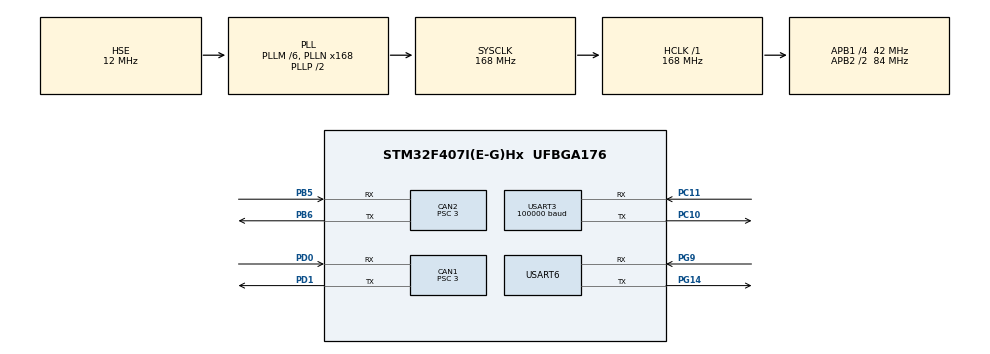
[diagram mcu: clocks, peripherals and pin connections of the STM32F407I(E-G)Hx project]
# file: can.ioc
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CAN1.BS1=CAN_BS1_10TQ
CAN1.BS2=CAN_BS2_3TQ
CAN1.CalculateTimeQuantum=71.42857142857143
CAN1.Prescaler=3
CAN2.BS1=CAN_BS1_10TQ
CAN2.BS2=CAN_BS2_3TQ
CAN2.CalculateTimeQuantum=71.42857142857143
CAN2.Prescaler=3
Dma.Request0=USART6_TX
Dma.Request1=USART3_RX
Dma.USART3_RX.1.Direction=DMA_PERIPH_TO_MEMORY
Dma.USART3_RX.1.FIFOMode=DMA_FIFOMODE_DISABLE
Dma.USART3_RX.1.Instance=DMA1_Stream1
Dma.USART3_RX.1.MemDataAlignment=DMA_MDATAALIGN_BYTE
Dma.USART3_RX.1.MemInc=DMA_MINC_ENABLE
Dma.USART3_RX.1.Mode=DMA_CIRCULAR
Dma.USART3_RX.1.PeriphDataAlignment=DMA_PDATAALIGN_BYTE
Dma.USART3_RX.1.PeriphInc=DMA_PINC_DISABLE
Dma.USART3_RX.1.Priority=DMA_PRIORITY_HIGH
Dma.USART6_TX.0.Direction=DMA_MEMORY_TO_PERIPH
Dma.USART6_TX.0.FIFOMode=DMA_FIFOMODE_DISABLE
Dma.USART6_TX.0.Instance=DMA2_Stream6
Dma.USART6_TX.0.MemDataAlignment=DMA_MDATAALIGN_BYTE
Dma.USART6_TX.0.MemInc=DMA_MINC_ENABLE
Dma.USART6_TX.0.Mode=DMA_NORMAL
Dma.USART6_TX.0.PeriphDataAlignment=DMA_PDATAALIGN_BYTE
Dma.USART6_TX.0.PeriphInc=DMA_PINC_DISABLE
Dma.USART6_TX.0.Priority=DMA_PRIORITY_LOW
Mcu.Family=STM32F4
Mcu.Name=STM32F407I(E-G)Hx
Mcu.Package=UFBGA176
NVIC.CAN1_RX0_IRQn=true\:0\:0\:false\:false\:true\:true\:true\:true
NVIC.CAN2_RX0_IRQn=true\:0\:0\:false\:false\:true\:true\:true\:true
NVIC.DMA1_Stream1_IRQn=true\:0\:0\:false\:false\:true\:false\:true\:true
NVIC.DMA2_Stream6_IRQn=true\:0\:0\:false\:false\:true\:false\:true\:true
NVIC.PriorityGroup=NVIC_PRIORITYGROUP_4
NVIC.USART3_IRQn=true\:0\:0\:false\:false\:true\:true\:true\:true
NVIC.USART6_IRQn=true\:0\:0\:false\:false\:true\:true\:true\:true
PA13.Mode=Serial_Wire
PA13.Signal=SYS_JTMS-SWDIO
PA14.Mode=Serial_Wire
PA14.Signal=SYS_JTCK-SWCLK
PB5.Mode=Slave
PB5.Signal=CAN2_RX
PB6.Mode=Slave
PB6.Signal=CAN2_TX
PC10.Mode=Asynchronous
PC10.Signal=USART3_TX
PC11.Mode=Asynchronous
PC11.Signal=USART3_RX
PD0.Mode=Master
PD0.Signal=CAN1_RX
PD1.Mode=Master
PD1.Signal=CAN1_TX
PG14.Mode=Asynchronous
PG14.Signal=USART6_TX
PG9.Mode=Asynchronous
PG9.Signal=USART6_RX
PH0-OSC_IN.Mode=HSE-External-Oscillator
PH0-OSC_IN.Signal=RCC_OSC_IN
PH1-OSC_OUT.Mode=HSE-External-Oscillator
PH1-OSC_OUT.Signal=RCC_OSC_OUT
ProjectManager.HeapSize=0x200
ProjectManager.StackSize=0x400
ProjectManager.TargetToolchain=MDK-ARM V5
RCC.48MHZClocksFreq_Value=84000000
RCC.AHBFreq_Value=168000000
RCC.APB1CLKDivider=RCC_HCLK_DIV4
RCC.APB1Freq_Value=42000000
RCC.APB1TimFreq_Value=84000000
RCC.APB2CLKDivider=RCC_HCLK_DIV2
RCC.APB2Freq_Value=84000000
RCC.APB2TimFreq_Value=168000000
RCC.CortexFreq_Value=168000000
RCC.HCLKFreq_Value=168000000
RCC.HSE_VALUE=12000000
RCC.HSI_VALUE=16000000
RCC.LSE_VALUE=32768
RCC.PLLM=6
RCC.PLLN=168
RCC.PLLSourceVirtual=RCC_PLLSOURCE_HSE
RCC.SYSCLKFreq_VALUE=168000000
RCC.SYSCLKSource=RCC_SYSCLKSOURCE_PLLCLK
RCC.VCOOutputFreq_Value=336000000
USART3.BaudRate=100000
USART3.Mode=MODE_RX
USART3.Parity=PARITY_EVEN
USART3.VirtualMode=VM_ASYNC
USART6.VirtualMode=VM_ASYNC
board=custom

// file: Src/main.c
/* USER CODE BEGIN Header */
/**
  ******************************************************************************
  * @file           : main.c
  * @brief          : Main program body
  ******************************************************************************
  * @attention
  *
  * <h2><center>&copy; Copyright (c) 2019 STMicroelectronics.
  * All rights reserved.</center></h2>
  *
  * This software component is licensed by ST under BSD 3-Clause license,
  * the "License"; You may not use this file except in compliance with the
  * License. You may obtain a copy of the License at:
  *                        opensource.org/licenses/BSD-3-Clause
  *
  ******************************************************************************
  */
/* USER CODE END Header */

#include "main.h"
#include "can.h"
#include "dma.h"
#include "usart.h"
#include "gpio.h"

/* USER CODE BEGIN Includes */
#include "bsp_can.h"
#include "CAN_receive.h"
#include "bsp_rc.h"
#include "uart_printf.h"
#include "remote_control.h"
#include "pid.h"
/* USER CODE END Includes */

/* USER CODE BEGIN PTD */
const RC_ctrl_t *local_rc_ctrl ;//遥控器数据存储空间

pid_type_def speed_pid;

int16_t give_current = 0 ;
float give_speed = 0 ;

/* USER CODE END PTD */

void SystemClock_Config(void);

/* USER CODE BEGIN 0 */
void speed_pid_init(void);
int16_t speed_pid_loop(float speed_set_loop);
/* USER CODE END 0 */

int main(void)
{

  /* MCU Configuration--------------------------------------------------------*/

  /* Reset of all peripherals, Initializes the Flash interface and the Systick. */
  HAL_Init();

  /* Configure the system clock */
  SystemClock_Config();

  /* Initialize all configured peripherals */
  MX_GPIO_Init();
  MX_DMA_Init();
  MX_CAN1_Init();
  MX_CAN2_Init();
  MX_USART6_UART_Init();
  MX_USART3_UART_Init();
  /* USER CODE BEGIN 2 */
  remote_control_init();//遥控器初始化
  local_rc_ctrl = get_remote_control_point();//遥控器初始化
    can_filter_init();
	speed_pid_init();
  /* USER CODE END 2 */

  /* Infinite loop */
  while (1)
  {

    /* USER CODE BEGIN 3 */

	  if(local_rc_ctrl->rc.s[0]  == 3 )
	  {
		  give_speed = 3000.0f ;
	  }
	  else
	  {
		  give_speed = 0.0f ;
	  }

//	  give_speed = local_rc_ctrl->rc.ch[1] * 5 ;//速度赋值——遥控器

	  give_current = speed_pid_loop(give_speed);//pid计算

      CAN_cmd_chassis(0, 0, give_current, 0);//电流发送

	  usart6_printf("%f,%d,%d,%d,%d \r\n",//串口debug
					give_speed,
					motor_chassis[2].speed_rpm,
					give_current,
					SPEED_PID_MAX,
					local_rc_ctrl->rc.s[0]);

       HAL_Delay(1);//控制频率1kHz
  }
  /* USER CODE END 3 */
}

void SystemClock_Config(void)
{
  RCC_OscInitTypeDef RCC_OscInitStruct = {0};
  RCC_ClkInitTypeDef RCC_ClkInitStruct = {0};

  /** Configure the main internal regulator output voltage
  */
  __HAL_RCC_PWR_CLK_ENABLE();
  __HAL_PWR_VOLTAGESCALING_CONFIG(PWR_REGULATOR_VOLTAGE_SCALE1);
  /** Initializes the CPU, AHB and APB busses clocks
  */
  RCC_OscInitStruct.OscillatorType = RCC_OSCILLATORTYPE_HSE;
  RCC_OscInitStruct.HSEState = RCC_HSE_ON;
  RCC_OscInitStruct.PLL.PLLState = RCC_PLL_ON;
  RCC_OscInitStruct.PLL.PLLSource = RCC_PLLSOURCE_HSE;
  RCC_OscInitStruct.PLL.PLLM = 6;
  RCC_OscInitStruct.PLL.PLLN = 168;
  RCC_OscInitStruct.PLL.PLLP = RCC_PLLP_DIV2;
  RCC_OscInitStruct.PLL.PLLQ = 4;
  if (HAL_RCC_OscConfig(&RCC_OscInitStruct) != HAL_OK)
  {
    Error_Handler();
  }
  /** Initializes the CPU, AHB and APB busses clocks
  */
  RCC_ClkInitStruct.ClockType = RCC_CLOCKTYPE_HCLK|RCC_CLOCKTYPE_SYSCLK
                              |RCC_CLOCKTYPE_PCLK1|RCC_CLOCKTYPE_PCLK2;
  RCC_ClkInitStruct.SYSCLKSource = RCC_SYSCLKSOURCE_PLLCLK;
  RCC_ClkInitStruct.AHBCLKDivider = RCC_SYSCLK_DIV1;
  RCC_ClkInitStruct.APB1CLKDivider = RCC_HCLK_DIV4;
  RCC_ClkInitStruct.APB2CLKDivider = RCC_HCLK_DIV2;

  if (HAL_RCC_ClockConfig(&RCC_ClkInitStruct, FLASH_LATENCY_5) != HAL_OK)
  {
    Error_Handler();
  }
}

/* USER CODE BEGIN 4 */
void speed_pid_init(void)
{
    static fp32 speed_kpkikd[3] = {SPEED_PID_KP,SPEED_PID_KI,SPEED_PID_KD};
    PID_init(&speed_pid,PID_POSITION,speed_kpkikd,SPEED_PID_MAX,SPEED_PID_I_MAX);

}

int16_t speed_pid_loop(float speed_set_loop)
{
    PID_calc(&speed_pid, motor_chassis[2].speed_rpm , speed_set_loop);
    int16_t give_current_loop = (int16_t)(speed_pid.out);

    return give_current_loop ;

}
/* USER CODE END 4 */

void Error_Handler(void)
{
}

/************************ (C) COPYRIGHT STMicroelectronics *****END OF FILE****/
